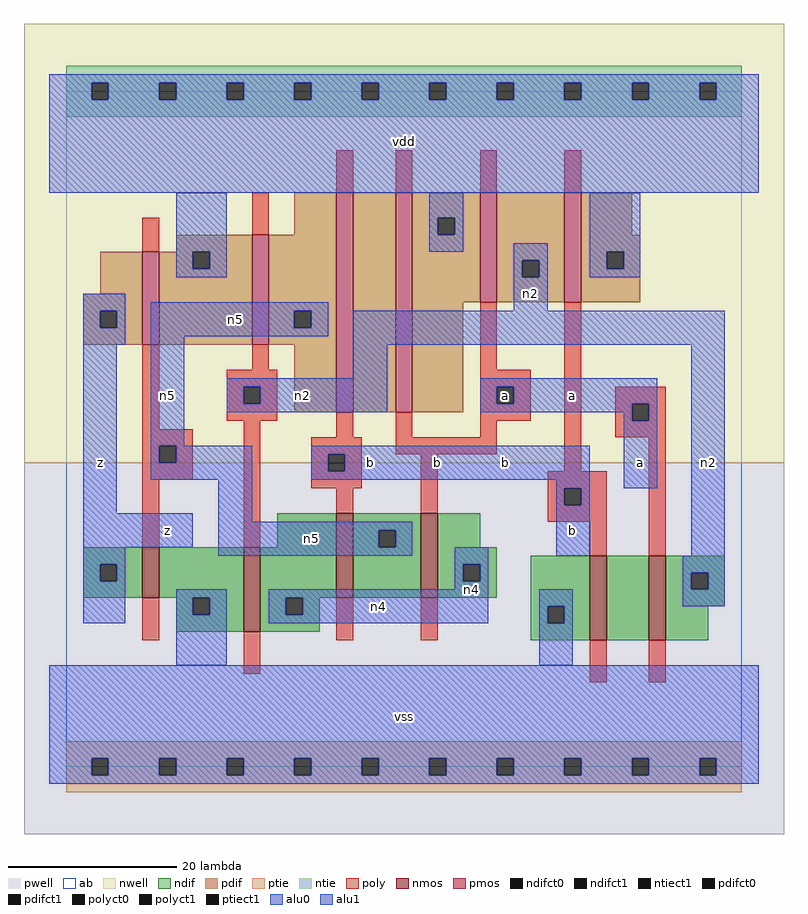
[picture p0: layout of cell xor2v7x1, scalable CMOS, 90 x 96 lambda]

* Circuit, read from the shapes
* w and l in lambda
.subckt xor2v7x1 a b n2 n4 n5 vdd vss z
M1 vss n5 z vss nfet w=6 l=2
M2 n4 n2 vss vss nfet w=10 l=2
M3 n5 b n4 vss nfet w=10 l=2
M4 n4 a n5 vss nfet w=10 l=2
M5 n1 b vss vss nfet w=10 l=2
M6 n2 a n1 vss nfet w=10 l=2
M7 vdd n5 z vdd pfet w=11 l=2
M8 n5 n2 vdd vdd pfet w=13 l=2
M9 n3 b n5 vdd pfet w=26 l=2
M10 vdd a n3 vdd pfet w=26 l=2
M11 n2 a vdd vdd pfet w=13 l=2
M12 vdd b n2 vdd pfet w=13 l=2
.ends

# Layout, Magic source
magic
tech scmos
<< ab >>
rect 0 0 80 80
<< nwell >>
rect -5 36 85 88
<< pwell >>
rect -5 -8 85 36
<< poly >>
rect 32 68 34 73
rect 39 68 41 73
rect 49 68 51 73
rect 59 68 61 73
rect 9 61 11 65
rect 22 63 24 68
rect 9 40 11 50
rect 22 47 24 50
rect 19 45 25 47
rect 19 43 21 45
rect 23 43 25 45
rect 19 41 25 43
rect 49 47 51 55
rect 49 45 55 47
rect 49 43 51 45
rect 53 43 55 45
rect 9 38 15 40
rect 9 36 11 38
rect 13 36 15 38
rect 9 34 15 36
rect 9 26 11 34
rect 21 26 23 41
rect 32 39 34 42
rect 39 39 41 42
rect 49 41 55 43
rect 49 39 51 41
rect 29 37 35 39
rect 39 37 51 39
rect 29 35 31 37
rect 33 35 35 37
rect 29 33 35 35
rect 32 30 34 33
rect 42 30 44 37
rect 59 35 61 55
rect 65 43 71 45
rect 65 41 67 43
rect 69 41 71 43
rect 65 39 71 41
rect 57 33 64 35
rect 57 31 59 33
rect 61 31 64 33
rect 9 15 11 20
rect 57 29 64 31
rect 62 25 64 29
rect 69 25 71 39
rect 21 11 23 16
rect 32 15 34 20
rect 42 15 44 20
rect 62 10 64 15
rect 69 10 71 15
<< ndif >>
rect 25 26 32 30
rect 2 24 9 26
rect 2 22 4 24
rect 6 22 9 24
rect 2 20 9 22
rect 11 20 21 26
rect 13 18 15 20
rect 17 18 21 20
rect 13 16 21 18
rect 23 20 32 26
rect 34 28 42 30
rect 34 26 37 28
rect 39 26 42 28
rect 34 20 42 26
rect 44 26 49 30
rect 44 24 51 26
rect 44 22 47 24
rect 49 22 51 24
rect 44 20 51 22
rect 23 18 26 20
rect 28 18 30 20
rect 23 16 30 18
rect 55 19 62 25
rect 55 17 57 19
rect 59 17 62 19
rect 55 15 62 17
rect 64 15 69 25
rect 71 23 78 25
rect 71 21 74 23
rect 76 21 78 23
rect 71 19 78 21
rect 71 15 76 19
<< pdif >>
rect 27 63 32 68
rect 13 61 22 63
rect 4 56 9 61
rect 2 54 9 56
rect 2 52 4 54
rect 6 52 9 54
rect 2 50 9 52
rect 11 59 15 61
rect 17 59 22 61
rect 11 50 22 59
rect 24 54 32 63
rect 24 52 27 54
rect 29 52 32 54
rect 24 50 32 52
rect 27 42 32 50
rect 34 42 39 68
rect 41 65 49 68
rect 41 63 44 65
rect 46 63 49 65
rect 41 55 49 63
rect 51 60 59 68
rect 51 58 54 60
rect 56 58 59 60
rect 51 55 59 58
rect 61 63 67 68
rect 61 61 68 63
rect 61 59 64 61
rect 66 59 68 61
rect 61 55 68 59
rect 41 42 47 55
<< alu1 >>
rect -2 81 82 82
rect -2 79 3 81
rect 5 79 11 81
rect 13 79 19 81
rect 21 79 27 81
rect 29 79 35 81
rect 37 79 43 81
rect 45 79 51 81
rect 53 79 59 81
rect 61 79 67 81
rect 69 79 75 81
rect 77 79 82 81
rect -2 68 82 79
rect 2 54 7 56
rect 2 52 4 54
rect 6 52 7 54
rect 2 50 7 52
rect 2 30 6 50
rect 49 45 70 46
rect 49 43 51 45
rect 53 43 70 45
rect 49 42 67 43
rect 66 41 67 42
rect 69 41 70 43
rect 29 37 62 38
rect 29 35 31 37
rect 33 35 62 37
rect 29 34 62 35
rect 2 26 15 30
rect 58 33 62 34
rect 66 33 70 41
rect 58 31 59 33
rect 61 31 62 33
rect 2 24 7 26
rect 2 22 4 24
rect 6 22 7 24
rect 2 17 7 22
rect 58 25 62 31
rect -2 1 82 12
rect -2 -1 3 1
rect 5 -1 11 1
rect 13 -1 19 1
rect 21 -1 27 1
rect 29 -1 35 1
rect 37 -1 43 1
rect 45 -1 51 1
rect 53 -1 59 1
rect 61 -1 67 1
rect 69 -1 75 1
rect 77 -1 82 1
rect -2 -2 82 -1
<< ptie >>
rect 0 1 80 3
rect 0 -1 3 1
rect 5 -1 11 1
rect 13 -1 19 1
rect 21 -1 27 1
rect 29 -1 35 1
rect 37 -1 43 1
rect 45 -1 51 1
rect 53 -1 59 1
rect 61 -1 67 1
rect 69 -1 75 1
rect 77 -1 80 1
rect 0 -3 80 -1
<< ntie >>
rect 0 81 80 83
rect 0 79 3 81
rect 5 79 11 81
rect 13 79 19 81
rect 21 79 27 81
rect 29 79 35 81
rect 37 79 43 81
rect 45 79 51 81
rect 53 79 59 81
rect 61 79 67 81
rect 69 79 75 81
rect 77 79 80 81
rect 0 77 80 79
<< nmos >>
rect 9 20 11 26
rect 21 16 23 26
rect 32 20 34 30
rect 42 20 44 30
rect 62 15 64 25
rect 69 15 71 25
<< pmos >>
rect 9 50 11 61
rect 22 50 24 63
rect 32 42 34 68
rect 39 42 41 68
rect 49 55 51 68
rect 59 55 61 68
<< polyct0 >>
rect 21 43 23 45
rect 11 36 13 38
<< polyct1 >>
rect 51 43 53 45
rect 31 35 33 37
rect 67 41 69 43
rect 59 31 61 33
<< ndifct0 >>
rect 15 18 17 20
rect 37 26 39 28
rect 47 22 49 24
rect 26 18 28 20
rect 57 17 59 19
rect 74 21 76 23
<< ndifct1 >>
rect 4 22 6 24
<< ntiect1 >>
rect 3 79 5 81
rect 11 79 13 81
rect 19 79 21 81
rect 27 79 29 81
rect 35 79 37 81
rect 43 79 45 81
rect 51 79 53 81
rect 59 79 61 81
rect 67 79 69 81
rect 75 79 77 81
<< ptiect1 >>
rect 3 -1 5 1
rect 11 -1 13 1
rect 19 -1 21 1
rect 27 -1 29 1
rect 35 -1 37 1
rect 43 -1 45 1
rect 51 -1 53 1
rect 59 -1 61 1
rect 67 -1 69 1
rect 75 -1 77 1
<< pdifct0 >>
rect 15 59 17 61
rect 27 52 29 54
rect 44 63 46 65
rect 54 58 56 60
rect 64 59 66 61
<< pdifct1 >>
rect 4 52 6 54
<< alu0 >>
rect 13 61 19 68
rect 43 65 47 68
rect 43 63 44 65
rect 46 63 47 65
rect 43 61 47 63
rect 13 59 15 61
rect 17 59 19 61
rect 13 58 19 59
rect 53 60 57 62
rect 53 58 54 60
rect 56 58 57 60
rect 62 61 68 68
rect 62 59 64 61
rect 66 59 68 61
rect 62 58 68 59
rect 10 54 31 55
rect 53 54 57 58
rect 10 52 27 54
rect 29 52 31 54
rect 10 51 31 52
rect 10 38 14 51
rect 34 50 78 54
rect 34 46 38 50
rect 19 45 38 46
rect 19 43 21 45
rect 23 43 38 45
rect 19 42 38 43
rect 10 36 11 38
rect 13 36 22 38
rect 10 34 22 36
rect 18 29 22 34
rect 18 28 41 29
rect 18 26 37 28
rect 39 26 41 28
rect 18 25 41 26
rect 46 24 50 26
rect 74 25 78 50
rect 46 22 47 24
rect 49 22 50 24
rect 46 21 50 22
rect 73 23 78 25
rect 73 21 74 23
rect 76 21 78 23
rect 13 20 19 21
rect 13 18 15 20
rect 17 18 19 20
rect 13 12 19 18
rect 24 20 50 21
rect 24 18 26 20
rect 28 18 50 20
rect 24 17 50 18
rect 56 19 60 21
rect 73 19 78 21
rect 56 17 57 19
rect 59 17 60 19
rect 56 12 60 17
<< labels >>
rlabel alu0 12 44 12 44 6 n5
rlabel alu0 28 44 28 44 6 n2
rlabel alu0 20 53 20 53 6 n5
rlabel alu0 48 21 48 21 6 n4
rlabel alu0 37 19 37 19 6 n4
rlabel alu0 29 27 29 27 6 n5
rlabel alu0 55 56 55 56 6 n2
rlabel alu0 76 36 76 36 6 n2
rlabel alu1 4 36 4 36 6 z
rlabel alu1 12 28 12 28 6 z
rlabel alu1 36 36 36 36 6 b
rlabel alu1 40 6 40 6 6 vss
rlabel alu1 44 36 44 36 6 b
rlabel alu1 52 36 52 36 6 b
rlabel polyct1 52 44 52 44 6 a
rlabel alu1 40 74 40 74 6 vdd
rlabel alu1 60 28 60 28 6 b
rlabel alu1 68 36 68 36 6 a
rlabel alu1 60 44 60 44 6 a
<< end >>
